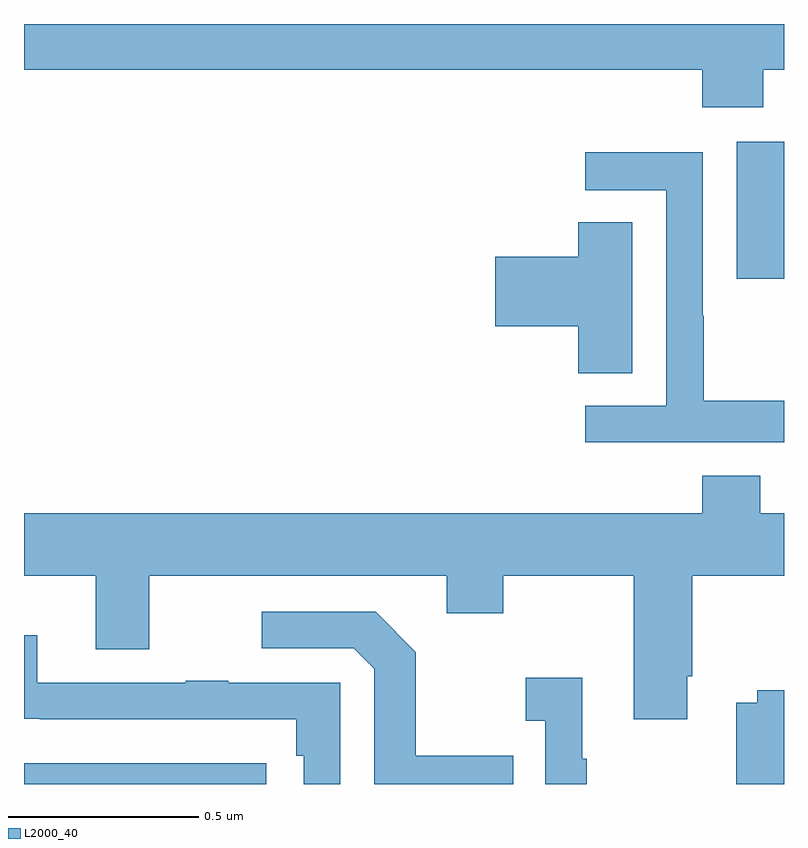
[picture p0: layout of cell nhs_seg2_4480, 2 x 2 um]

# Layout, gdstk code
import gdstk
lib = gdstk.Library(unit=1e-6, precision=1e-09)
def R(c, l, rs):  # rectangles x0, y0, x1, y1
    for r in rs: c.add(gdstk.rectangle(r[:2], r[2:], *l))
def P(c, l, *ps):  # polygons
    for p in ps: c.add(gdstk.Polygon(p, *l))
L2000_40 = (2000, 40)

nhs_seg2_4480 = lib.new_cell('nhs_seg2_4480')
R(nhs_seg2_4480, L2000_40, [(167,601.8,167.638,601.854), (168.875,603.129,169,603.49)])
P(nhs_seg2_4480, L2000_40, [(168.945,603.68),(169,603.68),(169,603.8),(167,603.8),(167,603.68),(168.785,603.68),(168.785,603.581),(168.945,603.581)],
  [(169,602.809),(168.789,602.809),(168.789,603.032),(168.786,603.032),(168.786,603.462),(168.477,603.462),(168.477,603.363),(168.69,603.363),(168.69,602.796),(168.477,602.796),(168.477,602.7),(169,602.7)],
  [(168.601,603.278),(168.458,603.278),(168.458,603.188),(168.24,603.188),(168.24,603.005),(168.458,603.005),(168.458,602.881),(168.601,602.881)],
  [(168.745,602.083),(168.758,602.083),(168.758,602.348),(169,602.348),(169,602.512),(168.937,602.512),(168.937,602.611),(168.785,602.611),(168.785,602.512),(167,602.512),(167,602.348),(167.189,602.348),(167.189,602.154),(167.329,602.154),(167.329,602.348),(168.113,602.348),(168.113,602.249),(168.261,602.249),(168.261,602.348),(168.605,602.348),(168.605,601.971),(168.745,601.971)],
  [(168.287,601.875),(168.031,601.875),(168.031,602.147),(167.925,602.253),(167.625,602.253),(167.625,602.157),(167.868,602.157),(167.922,602.103),(167.922,601.8),(168.287,601.8)],
  [(167.832,602.067),(167.537,602.067),(167.537,602.072),(167.425,602.072),(167.425,602.067),(167.035,602.067),(167.035,602.191),(167,602.191),(167,601.972),(167.041,601.972),(167.041,601.971),(167.716,601.971),(167.716,601.874),(167.736,601.874),(167.736,601.8),(167.832,601.8)],
  [(168.481,601.867),(168.469,601.867),(168.469,602.08),(168.321,602.08),(168.321,601.967),(168.372,601.967),(168.372,601.8),(168.481,601.8)],
  [(169,602.047),(168.93,602.047),(168.93,602.014),(168.874,602.014),(168.874,601.8),(169,601.8)])

lib.write_gds('nhs_seg2_4480.gds')
